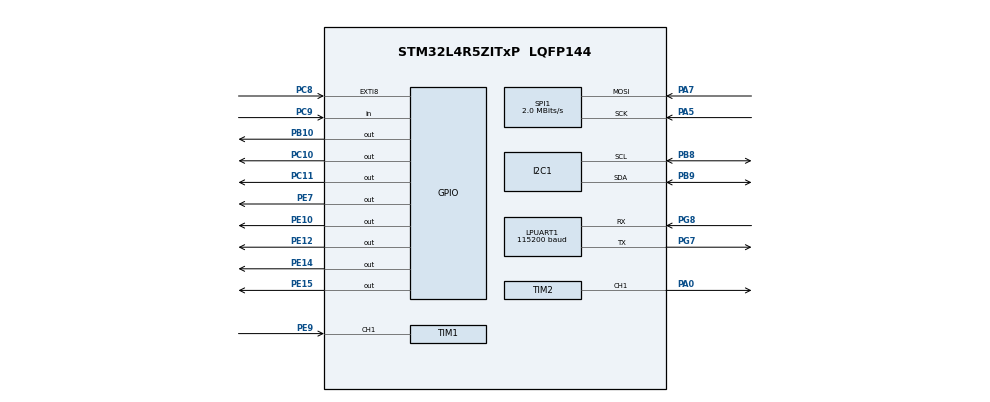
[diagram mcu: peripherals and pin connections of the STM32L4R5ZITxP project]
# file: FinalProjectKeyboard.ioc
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I2C1.Timing=0x00100D14
LPUART1.BaudRate=115200
LPUART1.WordLength=UART_WORDLENGTH_8B
Mcu.Family=STM32L4
Mcu.Name=STM32L4R5ZITxP
Mcu.Package=LQFP144
NVIC.EXTI9_5_IRQn=true\:0\:0\:false\:false\:true\:true\:true\:true
NVIC.PriorityGroup=NVIC_PRIORITYGROUP_4
PA0.Signal=S_TIM2_CH1
PA1.Signal=ADCx_IN6
PA10.Signal=USB_OTG_FS_ID
PA13\ (JTMS/SWDIO).Signal=SYS_JTMS-SWDIO
PA14\ (JTCK/SWCLK).Signal=SYS_JTCK-SWCLK
PA3.Signal=ADCx_IN8
PA4.Signal=SPI1_NSS
PA5.Mode=RX_Only_Simplex_Unidirect_Slave
PA5.Signal=SPI1_SCK
PA6.Signal=SPI1_MISO
PA7.Mode=RX_Only_Simplex_Unidirect_Slave
PA7.Signal=SPI1_MOSI
PA8.Signal=USB_OTG_FS_SOF
PA9.Signal=USB_OTG_FS_VBUS
PB0.Signal=S_TIM3_CH3
PB1.Signal=ADCx_IN16
PB10.Signal=GPIO_Output
PB12.Signal=SAI2_FS_A
PB13.Signal=SAI2_SCK_A
PB14.Signal=S_TIM15_CH1
PB15.Signal=SAI2_SD_A
PB2.Signal=COMP1_INP
PB3\ (JTDO/TRACESWO).Signal=SPI3_SCK
PB4\ (NJTRST).Signal=SPI3_MISO
PB5.Signal=SPI3_MOSI
PB6.Signal=COMP2_INP
PB8.Mode=I2C
PB8.Signal=I2C1_SCL
PB9.Mode=I2C
PB9.Signal=I2C1_SDA
PC0.Signal=ADCx_IN1
PC1.Signal=ADCx_IN2
PC10.Signal=GPIO_Output
PC11.Signal=GPIO_Output
PC12.Signal=SDMMC1_CK
PC13.Signal=SYS_WKUP2
PC14-OSC32_IN\ (PC14).Signal=RCC_OSC32_IN
PC15-OSC32_OUT\ (PC15).Signal=RCC_OSC32_OUT
PC2.Signal=ADCx_IN3
PC3.Signal=ADCx_IN4
PC4.Signal=ADCx_IN13
PC5.Signal=ADCx_IN14
PC6.Signal=SAI2_MCLK_A
PC7.Signal=S_TIM3_CH2
PC8.GPIO_ModeDefaultEXTI=GPIO_MODE_IT_FALLING
PC8.Signal=GPXTI8
PC9.Signal=GPIO_Input
PD0.Signal=CAN1_RX
PD14.Signal=S_TIM4_CH3
PD15.Signal=S_TIM4_CH4
PD2.Signal=SDMMC1_CMD
PD3.Signal=USART2_CTS
PD4.Signal=USART2_RTS
PD5.Signal=USART2_TX
PD6.Signal=USART2_RX
PD8.Signal=USART3_TX
PD9.Signal=USART3_RX
PE0.Signal=S_TIM4_ETR
PE10.Signal=GPIO_Output
PE11.Signal=S_TIM1_CH2
PE12.Signal=GPIO_Output
PE13.Signal=S_TIM1_CH3
PE14.Signal=GPIO_Output
PE15.Signal=GPIO_Output
PE2.Signal=SAI1_MCLK_A
PE3.Signal=SAI1_SD_B
PE7.Signal=GPIO_Output
PE8.Signal=TIM1_CH1N
PE9.Signal=S_TIM1_CH1
PF0.Signal=I2C2_SDA
PF1.Signal=I2C2_SCL
PF2.Signal=I2C2_SMBA
PF7.Signal=SAI1_MCLK_B
PG7.Mode=Asynchronous
PG7.Signal=LPUART1_TX
PG8.Mode=Asynchronous
PG8.Signal=LPUART1_RX
PH0-OSC_IN\ (PH0).Signal=RCC_OSC_IN
PH1-OSC_OUT\ (PH1).Signal=RCC_OSC_OUT
ProjectManager.HeapSize=0x200
ProjectManager.StackSize=0x400
ProjectManager.TargetToolchain=STM32CubeIDE
RCC.HSE_VALUE=8000000
RCC.HSI48_VALUE=48000000
RCC.HSI_VALUE=16000000
RCC.LSE_VALUE=32768
RCC.MSI_VALUE=4000000
RCC.VCOOutputFreq_Value=32000000
SH.ADCx_IN1.0=ADC1_IN1
SH.ADCx_IN13.0=ADC1_IN13
SH.ADCx_IN14.0=ADC1_IN14
SH.ADCx_IN16.0=ADC1_IN16
SH.ADCx_IN2.0=ADC1_IN2
SH.ADCx_IN3.0=ADC1_IN3
SH.ADCx_IN4.0=ADC1_IN4
SH.ADCx_IN6.0=ADC1_IN6
SH.ADCx_IN8.0=ADC1_IN8
SH.S_TIM15_CH1.0=TIM15_CH1
SH.S_TIM1_CH1.0=TIM1_CH1,Input_Capture1_from_TI1
SH.S_TIM1_CH2.0=TIM1_CH2
SH.S_TIM1_CH3.0=TIM1_CH3
SH.S_TIM2_CH1.0=TIM2_CH1,PWM Generation1 CH1
SH.S_TIM3_CH2.0=TIM3_CH2
SH.S_TIM3_CH3.0=TIM3_CH3
SH.S_TIM4_CH3.0=TIM4_CH3
SH.S_TIM4_CH4.0=TIM4_CH4
SH.S_TIM4_ETR.0=TIM4_ETR
SPI1.CLKPolarity=SPI_POLARITY_HIGH
SPI1.CalculateBaudRate=2.0 MBits/s
SPI1.DataSize=SPI_DATASIZE_8BIT
SPI1.Direction=SPI_DIRECTION_2LINES_RXONLY
SPI1.FirstBit=SPI_FIRSTBIT_LSB
SPI1.Mode=SPI_MODE_SLAVE
SPI1.VirtualType=VM_SLAVE
TIM1.Channel-Input_Capture1_from_TI1=TIM_CHANNEL_1
TIM1.Prescaler=39999
TIM2.Channel-PWM\ Generation1\ CH1=TIM_CHANNEL_1
TIM2.OCMode_PWM-PWM\ Generation1\ CH1=TIM_OCMODE_PWM1
TIM2.Period=49
TIM2.Prescaler=99
TIM2.Pulse-PWM\ Generation1\ CH1=25
VP_TIM1_VS_ClockSourceINT.Mode=Internal
VP_TIM2_VS_ClockSourceINT.Mode=Internal
board=NUCLEO-L4R5ZI-P

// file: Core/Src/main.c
/* USER CODE BEGIN Header */
/**
  ******************************************************************************
  * @file           : main.c
  * @brief          : Main program body
  ******************************************************************************
  * @attention
  *
  * Copyright (c) 2024 STMicroelectronics.
  * All rights reserved.
  *
  * This software is licensed under terms that can be found in the LICENSE file
  * in the root directory of this software component.
  * If no LICENSE file comes with this software, it is provided AS-IS.
  *
  ******************************************************************************
  */
/* USER CODE END Header */
#include "main.h"

/* USER CODE BEGIN Includes */
#include "stdio.h"
#include "stdlib.h"
#include "../../ECUAL/I2C_LCD/I2C_LCD.h"
/* USER CODE END Includes */

/* USER CODE BEGIN PD */
#define MyI2C_LCD I2C_LCD_1

/* USER CODE END PD */

I2C_HandleTypeDef hi2c1;

UART_HandleTypeDef hlpuart1;

SPI_HandleTypeDef hspi1;

TIM_HandleTypeDef htim1;
TIM_HandleTypeDef htim2;

void SystemClock_Config(void);
static void MX_GPIO_Init(void);
static void MX_LPUART1_UART_Init(void);
static void MX_SPI1_Init(void);
static void MX_TIM1_Init(void);
static void MX_I2C1_Init(void);
static void MX_TIM2_Init(void);

/* USER CODE BEGIN 0 */

char scan_code_to_char(uint8_t scan_code) {
    switch (scan_code) {
        case 0x1C: return 'a';
        case 0x32: return 'b';
        case 0x21: return 'c';
        case 0x23: return 'd';
        case 0x24: return 'e';
        case 0x2B: return 'f';
        case 0x34: return 'g';
        case 0x33: return 'h';
        case 0x43: return 'i';
        case 0x3B: return 'j';
        case 0x42: return 'k';
        case 0x4B: return 'l';
        case 0x3A: return 'm';
        case 0x31: return 'n';
        case 0x44: return 'o';
        case 0x4D: return 'p';
        case 0x15: return 'q';
        case 0x2D: return 'r';
        case 0x1B: return 's';
        case 0x2C: return 't';
        case 0x3C: return 'u';
        case 0x2A: return 'v';
        case 0x1D: return 'w';
        case 0x22: return 'x';
        case 0x35: return 'y';
        case 0x1A: return 'z';
        case 0x29: return ' ';
        default: return '?';  // Unknown or unmapped scan code
    }
}

enum State {
	Start,
	Receive,
	Parity,
	Stop
};

static int data = 0;
static int bits_received = 0;
static enum State curr_state = Start;
char currentWords[256];
int currentPosition = 0;
int ignore = 0;
int finished = 0;
//char prompt[1024] = "the quick brown fox jumps over the lazy dog while swift birds flap above the green fields enjoying the breezes while sun sets and moon rises bring peaceful nights with starry skies and calm oceans reflecting light of the day as gentle winds whistle past trees growing strong against time";
//char prompt[1024] = "a a a a a a a a a a a a a a a a a a a a a a";
char prompt[1024] = "apple banana cherry dates melon grape honeydew kiwi lemon mango nectarine orange papaya lime raspberry blueberry tangerine pear avocado watermelon strawberry yuzu peach apricot zucchini tomato";
//char prompt[1024] = "the quick brown fox jumps over the lazy dog";
int currentPromptLetter = 0;
int numWordsTyped = 0;
int currentWPM = 0;
int updateWPM = 0;
int playNoise = 0;
int reset = 0;
char curr;
int bestScores[3] = {0,0,0};

extern void HAL_GPIO_EXTI_Callback(uint16_t pin){
	HAL_GPIO_WritePin(GPIOC, GPIO_PIN_10, 0);
	int bit = HAL_GPIO_ReadPin(GPIOC, GPIO_PIN_9);

	if(currentPromptLetter == 0){
		TIM1->CNT = 0;
	}

	if (curr_state == Start) {
		curr_state = Receive;
	}

	else if (curr_state == Receive) {
		data |= (bit << bits_received++);

		if (bits_received >= 8) {
			curr = scan_code_to_char(data);
			if(data == 0xF0){ //if a key is released
				ignore = 1; //we want to ignore the next data byte sent
			}
			else if(curr != '?'){ //alphabetical character pressed
				if(!ignore){
					//code for displaying to terminal on return
					currentWords[currentPosition] = curr;
					currentPosition++;

					//code for sending correct letter signal to FPGA
					if(curr == prompt[currentPromptLetter]){
						//write pin high
						HAL_GPIO_WritePin(GPIOC, GPIO_PIN_10, 1);
						currentPromptLetter++;

						//play noise
						playNoise = 1;
						if(curr == ' '){
							numWordsTyped++;
							updateWPM = 1;
						}
						if(prompt[currentPromptLetter] == '\0'){
							//end condition
							finished = 1;
						}
					}
				}
				else {
					ignore = 0;
				}
			}
			else if(data == 0x5A){ //return key pressed
				if(!ignore){
					currentPromptLetter = 0;
					numWordsTyped = 0;
					reset = 1;
				}
				else {
					ignore = 0;
				}
			}
			curr_state = Parity;
		}
	}

	else if (curr_state == Parity) {
		curr_state = Stop;
	}

	else if (curr_state == Stop) {
		data = 0;
		bits_received = 0;
		curr_state = Start;

		if(finished){

		//	printf("You finished!! WPM:%d\n\r", currentWPM);

			currentPromptLetter = 0;

		}
	}

	//HAL_GPIO_WritePin(GPIOC, GPIO_PIN_10, bit);
}

void playChime(void) {
	uint16_t melody[] = {
	        40,  // High note
	        60,  // Medium note
	        80,  // Low note
	        60,  // Medium note
	        40,  // High note
	        40,  // High note (repeat)
	        60,  // Medium note
	        40,  // High note
	        80,  // Low note
	        60,  // Medium note
	        40,  // High note
	    };
	    int melodyLength = sizeof(melody) / sizeof(melody[0]);
	    for (int i = 0; i < melodyLength; i++) {
	        TIM2->PSC = melody[i];
	        HAL_TIM_PWM_Start(&htim2, TIM_CHANNEL_1);
	        HAL_Delay(100);
	        HAL_TIM_PWM_Stop(&htim2, TIM_CHANNEL_1);
	        HAL_Delay(50);
}
}

void print_leaderboard() {
	I2C_LCD_Clear(MyI2C_LCD);
	I2C_LCD_SetCursor(MyI2C_LCD, 0, 0);
	I2C_LCD_WriteString(MyI2C_LCD, "Leaderboard:");
	char num[3];

	I2C_LCD_SetCursor(MyI2C_LCD, 0, 1);
	I2C_LCD_WriteString(MyI2C_LCD, "1:     WPM");
	I2C_LCD_SetCursor(MyI2C_LCD, 3, 1);
	I2C_LCD_WriteString(MyI2C_LCD, itoa(bestScores[0], num, 10));

	I2C_LCD_SetCursor(MyI2C_LCD, 0, 2);
	I2C_LCD_WriteString(MyI2C_LCD, "2:     WPM");
	I2C_LCD_SetCursor(MyI2C_LCD, 3, 2);
	I2C_LCD_WriteString(MyI2C_LCD, itoa(bestScores[1], num, 10));

	I2C_LCD_SetCursor(MyI2C_LCD, 0, 3);
	I2C_LCD_WriteString(MyI2C_LCD, "3:     WPM");
	I2C_LCD_SetCursor(MyI2C_LCD, 3, 3);
	I2C_LCD_WriteString(MyI2C_LCD, itoa(bestScores[2], num, 10));
	playChime();
}

void lightLEDs(int WPM) {
	if (WPM >= 100) {
		HAL_GPIO_WritePin(GPIOE, GPIO_PIN_7, 1);
		HAL_GPIO_WritePin(GPIOE, GPIO_PIN_10, 1);
		HAL_GPIO_WritePin(GPIOE, GPIO_PIN_12, 1);
		HAL_GPIO_WritePin(GPIOE, GPIO_PIN_14, 1);
		HAL_GPIO_WritePin(GPIOE, GPIO_PIN_15, 1);
		HAL_GPIO_WritePin(GPIOB, GPIO_PIN_10, 1);
	}
	else if (WPM >= 85) {
		HAL_GPIO_WritePin(GPIOE, GPIO_PIN_7, 1);
		HAL_GPIO_WritePin(GPIOE, GPIO_PIN_10, 1);
		HAL_GPIO_WritePin(GPIOE, GPIO_PIN_12, 1);
		HAL_GPIO_WritePin(GPIOE, GPIO_PIN_14, 1);
		HAL_GPIO_WritePin(GPIOE, GPIO_PIN_15, 1);
		HAL_GPIO_WritePin(GPIOB, GPIO_PIN_10, 0);
	}
	else if (WPM >= 70) {
		HAL_GPIO_WritePin(GPIOE, GPIO_PIN_7, 1);
		HAL_GPIO_WritePin(GPIOE, GPIO_PIN_10, 1);
		HAL_GPIO_WritePin(GPIOE, GPIO_PIN_12, 1);
		HAL_GPIO_WritePin(GPIOE, GPIO_PIN_14, 1);
		HAL_GPIO_WritePin(GPIOE, GPIO_PIN_15, 0);
		HAL_GPIO_WritePin(GPIOB, GPIO_PIN_10, 0);
	}
	else if (WPM >= 55) {
		HAL_GPIO_WritePin(GPIOE, GPIO_PIN_7, 1);
		HAL_GPIO_WritePin(GPIOE, GPIO_PIN_10, 1);
		HAL_GPIO_WritePin(GPIOE, GPIO_PIN_12, 1);
		HAL_GPIO_WritePin(GPIOE, GPIO_PIN_14, 0);
		HAL_GPIO_WritePin(GPIOE, GPIO_PIN_15, 0);
		HAL_GPIO_WritePin(GPIOB, GPIO_PIN_10, 0);
	}
	else if (WPM >= 40) {
		HAL_GPIO_WritePin(GPIOE, GPIO_PIN_7, 1);
		HAL_GPIO_WritePin(GPIOE, GPIO_PIN_10, 1);
		HAL_GPIO_WritePin(GPIOE, GPIO_PIN_12, 0);
		HAL_GPIO_WritePin(GPIOE, GPIO_PIN_14, 0);
		HAL_GPIO_WritePin(GPIOE, GPIO_PIN_15, 0);
		HAL_GPIO_WritePin(GPIOB, GPIO_PIN_10, 0);
	}
	else if (WPM >= 25) {
		// write 5 0, 1 1
		HAL_GPIO_WritePin(GPIOE, GPIO_PIN_7, 1);
		HAL_GPIO_WritePin(GPIOE, GPIO_PIN_10, 0);
		HAL_GPIO_WritePin(GPIOE, GPIO_PIN_12, 0);
		HAL_GPIO_WritePin(GPIOE, GPIO_PIN_14, 0);
		HAL_GPIO_WritePin(GPIOE, GPIO_PIN_15, 0);
		HAL_GPIO_WritePin(GPIOB, GPIO_PIN_10, 0);
	}
	else {
		HAL_GPIO_WritePin(GPIOE, GPIO_PIN_7, 0);
		HAL_GPIO_WritePin(GPIOE, GPIO_PIN_10, 0);
		HAL_GPIO_WritePin(GPIOE, GPIO_PIN_12, 0);
		HAL_GPIO_WritePin(GPIOE, GPIO_PIN_14, 0);
		HAL_GPIO_WritePin(GPIOE, GPIO_PIN_15, 0);
		HAL_GPIO_WritePin(GPIOB, GPIO_PIN_10, 0);
		// write 6 0
	}
}

/* USER CODE END 0 */

int main(void)
{

  /* MCU Configuration--------------------------------------------------------*/

  /* Reset of all peripherals, Initializes the Flash interface and the Systick. */
  HAL_Init();

  /* Configure the system clock */
  SystemClock_Config();

  /* Initialize all configured peripherals */
  MX_GPIO_Init();
  MX_LPUART1_UART_Init();
  MX_SPI1_Init();
  MX_TIM1_Init();
  MX_I2C1_Init();
  MX_TIM2_Init();
  /* USER CODE BEGIN 2 */
  //initialize timer
  HAL_TIM_IC_Start_IT(&htim1, TIM_CHANNEL_1);
  //LCD TEST
  I2C_LCD_Init(MyI2C_LCD);
  /* USER CODE END 2 */

  /* Infinite loop */
  /* USER CODE BEGIN WHILE */
  int count = 0;
  reset = 1;

	//HAL_GPIO_WritePin(GPIOB, GPIO_PIN_10, 1); //test led

  while (1)
  {

	  if(reset){
		  HAL_GPIO_WritePin(GPIOC, GPIO_PIN_11, 1);

		  HAL_GPIO_WritePin(GPIOC, GPIO_PIN_11, 0);
		  print_leaderboard();
		  reset = 0;
	  }

	  if (updateWPM) {
		//HAL_TIM_PWM_Start(&htim2, TIM_CHANNEL_1);
		currentWPM = (numWordsTyped * 100 * 60) / (TIM1->CNT);
		I2C_LCD_Clear(MyI2C_LCD);
		I2C_LCD_SetCursor(MyI2C_LCD, 0, 0);
		char num[3];
		I2C_LCD_WriteString(MyI2C_LCD, "WPM:");
		I2C_LCD_SetCursor(MyI2C_LCD, 5, 0);
		I2C_LCD_WriteString(MyI2C_LCD, itoa(currentWPM, num, 10));
		updateWPM = 0;
		lightLEDs(currentWPM);
		//HAL_TIM_PWM_Stop(&htim2, TIM_CHANNEL_1);
	}

	  if(playNoise){
		  HAL_TIM_PWM_Start(&htim2, TIM_CHANNEL_1);
		  if (count++ > 1000) {
			  HAL_TIM_PWM_Stop(&htim2, TIM_CHANNEL_1);
			  playNoise = 0;
			  count = 0;
		  }
	  }

	  if(finished){
		  numWordsTyped++;
		  currentWPM = (numWordsTyped * 100 * 60) / (TIM1->CNT);
		  numWordsTyped = 0;
		  char num[3];
		  int WPMcopy = currentWPM;
		  I2C_LCD_SetCursor(MyI2C_LCD, 0, 0);
		  I2C_LCD_WriteString(MyI2C_LCD, "You finished :)");
		  I2C_LCD_SetCursor(MyI2C_LCD, 0, 1);
		  I2C_LCD_WriteString(MyI2C_LCD, "Final WPM:");
		  I2C_LCD_SetCursor(MyI2C_LCD, 11, 1);
		  I2C_LCD_WriteString(MyI2C_LCD, itoa(WPMcopy, num, 10));
		  finished = 0;

		  //update leaderboard
		  if (WPMcopy >= bestScores[0]) {
			  bestScores[2] = bestScores[1];
			  bestScores[1] = bestScores[0];
			  bestScores[0] = WPMcopy;
		  }
		  else if (WPMcopy >= bestScores[1]) {
			  bestScores[2] = bestScores[1];
			  bestScores[1] = WPMcopy;
		  }
		  else if (WPMcopy >= bestScores[2]){
			  bestScores[2] = WPMcopy;
		  }

		  print_leaderboard();
		  TIM2->PSC = 99;
	  }
    /* USER CODE END WHILE */

  }
}

void SystemClock_Config(void)
{
  RCC_OscInitTypeDef RCC_OscInitStruct = {0};
  RCC_ClkInitTypeDef RCC_ClkInitStruct = {0};

  /** Configure the main internal regulator output voltage
  */
  if (HAL_PWREx_ControlVoltageScaling(PWR_REGULATOR_VOLTAGE_SCALE1) != HAL_OK)
  {
    Error_Handler();
  }

  /** Initializes the RCC Oscillators according to the specified parameters
  * in the RCC_OscInitTypeDef structure.
  */
  RCC_OscInitStruct.OscillatorType = RCC_OSCILLATORTYPE_MSI;
  RCC_OscInitStruct.MSIState = RCC_MSI_ON;
  RCC_OscInitStruct.MSICalibrationValue = 0;
  RCC_OscInitStruct.MSIClockRange = RCC_MSIRANGE_6;
  RCC_OscInitStruct.PLL.PLLState = RCC_PLL_NONE;
  if (HAL_RCC_OscConfig(&RCC_OscInitStruct) != HAL_OK)
  {
    Error_Handler();
  }

  /** Initializes the CPU, AHB and APB buses clocks
  */
  RCC_ClkInitStruct.ClockType = RCC_CLOCKTYPE_HCLK|RCC_CLOCKTYPE_SYSCLK
                              |RCC_CLOCKTYPE_PCLK1|RCC_CLOCKTYPE_PCLK2;
  RCC_ClkInitStruct.SYSCLKSource = RCC_SYSCLKSOURCE_MSI;
  RCC_ClkInitStruct.AHBCLKDivider = RCC_SYSCLK_DIV1;
  RCC_ClkInitStruct.APB1CLKDivider = RCC_HCLK_DIV1;
  RCC_ClkInitStruct.APB2CLKDivider = RCC_HCLK_DIV1;

  if (HAL_RCC_ClockConfig(&RCC_ClkInitStruct, FLASH_LATENCY_0) != HAL_OK)
  {
    Error_Handler();
  }
}

static void MX_I2C1_Init(void)
{

  hi2c1.Instance = I2C1;
  hi2c1.Init.Timing = 0x00100D14;
  hi2c1.Init.OwnAddress1 = 0;
  hi2c1.Init.AddressingMode = I2C_ADDRESSINGMODE_7BIT;
  hi2c1.Init.DualAddressMode = I2C_DUALADDRESS_DISABLE;
  hi2c1.Init.OwnAddress2 = 0;
  hi2c1.Init.OwnAddress2Masks = I2C_OA2_NOMASK;
  hi2c1.Init.GeneralCallMode = I2C_GENERALCALL_DISABLE;
  hi2c1.Init.NoStretchMode = I2C_NOSTRETCH_DISABLE;
  if (HAL_I2C_Init(&hi2c1) != HAL_OK)
  {
    Error_Handler();
  }

  /** Configure Analogue filter
  */
  if (HAL_I2CEx_ConfigAnalogFilter(&hi2c1, I2C_ANALOGFILTER_ENABLE) != HAL_OK)
  {
    Error_Handler();
  }

  /** Configure Digital filter
  */
  if (HAL_I2CEx_ConfigDigitalFilter(&hi2c1, 0) != HAL_OK)
  {
    Error_Handler();
  }

}

static void MX_LPUART1_UART_Init(void)
{

  hlpuart1.Instance = LPUART1;
  hlpuart1.Init.BaudRate = 115200;
  hlpuart1.Init.WordLength = UART_WORDLENGTH_8B;
  hlpuart1.Init.StopBits = UART_STOPBITS_1;
  hlpuart1.Init.Parity = UART_PARITY_NONE;
  hlpuart1.Init.Mode = UART_MODE_TX_RX;
  hlpuart1.Init.HwFlowCtl = UART_HWCONTROL_NONE;
  hlpuart1.Init.OneBitSampling = UART_ONE_BIT_SAMPLE_DISABLE;
  hlpuart1.Init.ClockPrescaler = UART_PRESCALER_DIV1;
  hlpuart1.AdvancedInit.AdvFeatureInit = UART_ADVFEATURE_NO_INIT;
  hlpuart1.FifoMode = UART_FIFOMODE_DISABLE;
  if (HAL_UART_Init(&hlpuart1) != HAL_OK)
  {
    Error_Handler();
  }
  if (HAL_UARTEx_SetTxFifoThreshold(&hlpuart1, UART_TXFIFO_THRESHOLD_1_8) != HAL_OK)
  {
    Error_Handler();
  }
  if (HAL_UARTEx_SetRxFifoThreshold(&hlpuart1, UART_RXFIFO_THRESHOLD_1_8) != HAL_OK)
  {
    Error_Handler();
  }
  if (HAL_UARTEx_DisableFifoMode(&hlpuart1) != HAL_OK)
  {
    Error_Handler();
  }

}

static void MX_SPI1_Init(void)
{

  /* SPI1 parameter configuration*/
  hspi1.Instance = SPI1;
  hspi1.Init.Mode = SPI_MODE_SLAVE;
  hspi1.Init.Direction = SPI_DIRECTION_2LINES_RXONLY;
  hspi1.Init.DataSize = SPI_DATASIZE_8BIT;
  hspi1.Init.CLKPolarity = SPI_POLARITY_HIGH;
  hspi1.Init.CLKPhase = SPI_PHASE_1EDGE;
  hspi1.Init.NSS = SPI_NSS_SOFT;
  hspi1.Init.FirstBit = SPI_FIRSTBIT_LSB;
  hspi1.Init.TIMode = SPI_TIMODE_DISABLE;
  hspi1.Init.CRCCalculation = SPI_CRCCALCULATION_DISABLE;
  hspi1.Init.CRCPolynomial = 7;
  hspi1.Init.CRCLength = SPI_CRC_LENGTH_DATASIZE;
  hspi1.Init.NSSPMode = SPI_NSS_PULSE_DISABLE;
  if (HAL_SPI_Init(&hspi1) != HAL_OK)
  {
    Error_Handler();
  }

}

static void MX_TIM1_Init(void)
{

  TIM_ClockConfigTypeDef sClockSourceConfig = {0};
  TIM_MasterConfigTypeDef sMasterConfig = {0};
  TIM_IC_InitTypeDef sConfigIC = {0};

  htim1.Instance = TIM1;
  htim1.Init.Prescaler = 39999;
  htim1.Init.CounterMode = TIM_COUNTERMODE_UP;
  htim1.Init.Period = 65535;
  htim1.Init.ClockDivision = TIM_CLOCKDIVISION_DIV1;
  htim1.Init.RepetitionCounter = 0;
  htim1.Init.AutoReloadPreload = TIM_AUTORELOAD_PRELOAD_DISABLE;
  if (HAL_TIM_Base_Init(&htim1) != HAL_OK)
  {
    Error_Handler();
  }
  sClockSourceConfig.ClockSource = TIM_CLOCKSOURCE_INTERNAL;
  if (HAL_TIM_ConfigClockSource(&htim1, &sClockSourceConfig) != HAL_OK)
  {
    Error_Handler();
  }
  if (HAL_TIM_IC_Init(&htim1) != HAL_OK)
  {
    Error_Handler();
  }
  sMasterConfig.MasterOutputTrigger = TIM_TRGO_RESET;
  sMasterConfig.MasterOutputTrigger2 = TIM_TRGO2_RESET;
  sMasterConfig.MasterSlaveMode = TIM_MASTERSLAVEMODE_DISABLE;
  if (HAL_TIMEx_MasterConfigSynchronization(&htim1, &sMasterConfig) != HAL_OK)
  {
    Error_Handler();
  }
  sConfigIC.ICPolarity = TIM_INPUTCHANNELPOLARITY_RISING;
  sConfigIC.ICSelection = TIM_ICSELECTION_DIRECTTI;
  sConfigIC.ICPrescaler = TIM_ICPSC_DIV1;
  sConfigIC.ICFilter = 0;
  if (HAL_TIM_IC_ConfigChannel(&htim1, &sConfigIC, TIM_CHANNEL_1) != HAL_OK)
  {
    Error_Handler();
  }

}

static void MX_TIM2_Init(void)
{

  TIM_ClockConfigTypeDef sClockSourceConfig = {0};
  TIM_MasterConfigTypeDef sMasterConfig = {0};
  TIM_OC_InitTypeDef sConfigOC = {0};

  htim2.Instance = TIM2;
  htim2.Init.Prescaler = 99;
  htim2.Init.CounterMode = TIM_COUNTERMODE_UP;
  htim2.Init.Period = 49;
  htim2.Init.ClockDivision = TIM_CLOCKDIVISION_DIV1;
  htim2.Init.AutoReloadPreload = TIM_AUTORELOAD_PRELOAD_DISABLE;
  if (HAL_TIM_Base_Init(&htim2) != HAL_OK)
  {
    Error_Handler();
  }
  sClockSourceConfig.ClockSource = TIM_CLOCKSOURCE_INTERNAL;
  if (HAL_TIM_ConfigClockSource(&htim2, &sClockSourceConfig) != HAL_OK)
  {
    Error_Handler();
  }
  if (HAL_TIM_PWM_Init(&htim2) != HAL_OK)
  {
    Error_Handler();
  }
  sMasterConfig.MasterOutputTrigger = TIM_TRGO_RESET;
  sMasterConfig.MasterSlaveMode = TIM_MASTERSLAVEMODE_DISABLE;
  if (HAL_TIMEx_MasterConfigSynchronization(&htim2, &sMasterConfig) != HAL_OK)
  {
    Error_Handler();
  }
  sConfigOC.OCMode = TIM_OCMODE_PWM1;
  sConfigOC.Pulse = 25;
  sConfigOC.OCPolarity = TIM_OCPOLARITY_HIGH;
  sConfigOC.OCFastMode = TIM_OCFAST_DISABLE;
  if (HAL_TIM_PWM_ConfigChannel(&htim2, &sConfigOC, TIM_CHANNEL_1) != HAL_OK)
  {
    Error_Handler();
  }
  HAL_TIM_MspPostInit(&htim2);

}

static void MX_GPIO_Init(void)
{
  GPIO_InitTypeDef GPIO_InitStruct = {0};

  /* GPIO Ports Clock Enable */
  __HAL_RCC_GPIOE_CLK_ENABLE();
  __HAL_RCC_GPIOC_CLK_ENABLE();
  __HAL_RCC_GPIOF_CLK_ENABLE();
  __HAL_RCC_GPIOH_CLK_ENABLE();
  __HAL_RCC_GPIOA_CLK_ENABLE();
  __HAL_RCC_GPIOB_CLK_ENABLE();
  __HAL_RCC_GPIOD_CLK_ENABLE();
  __HAL_RCC_GPIOG_CLK_ENABLE();
  HAL_PWREx_EnableVddIO2();

  /*Configure GPIO pin Output Level */
  HAL_GPIO_WritePin(GPIOE, GPIO_PIN_7|GPIO_PIN_10|GPIO_PIN_12|GPIO_PIN_14
                          |GPIO_PIN_15, GPIO_PIN_RESET);

  /*Configure GPIO pin Output Level */
  HAL_GPIO_WritePin(GPIOB, GPIO_PIN_10, GPIO_PIN_RESET);

  /*Configure GPIO pin Output Level */
  HAL_GPIO_WritePin(GPIOC, GPIO_PIN_10|GPIO_PIN_11, GPIO_PIN_RESET);

  /*Configure GPIO pins : PE2 PE3 */
  GPIO_InitStruct.Pin = GPIO_PIN_2|GPIO_PIN_3;
  GPIO_InitStruct.Mode = GPIO_MODE_AF_PP;
  GPIO_InitStruct.Pull = GPIO_NOPULL;
  GPIO_InitStruct.Speed = GPIO_SPEED_FREQ_LOW;
  GPIO_InitStruct.Alternate = GPIO_AF13_SAI1;
  HAL_GPIO_Init(GPIOE, &GPIO_InitStruct);

  /*Configure GPIO pins : PF0 PF1 PF2 */
  GPIO_InitStruct.Pin = GPIO_PIN_0|GPIO_PIN_1|GPIO_PIN_2;
  GPIO_InitStruct.Mode = GPIO_MODE_AF_OD;
  GPIO_InitStruct.Pull = GPIO_NOPULL;
  GPIO_InitStruct.Speed = GPIO_SPEED_FREQ_VERY_HIGH;
  GPIO_InitStruct.Alternate = GPIO_AF4_I2C2;
  HAL_GPIO_Init(GPIOF, &GPIO_InitStruct);

  /*Configure GPIO pin : PF7 */
  GPIO_InitStruct.Pin = GPIO_PIN_7;
  GPIO_InitStruct.Mode = GPIO_MODE_AF_PP;
  GPIO_InitStruct.Pull = GPIO_NOPULL;
  GPIO_InitStruct.Speed = GPIO_SPEED_FREQ_LOW;
  GPIO_InitStruct.Alternate = GPIO_AF13_SAI1;
  HAL_GPIO_Init(GPIOF, &GPIO_InitStruct);

  /*Configure GPIO pins : PC0 PC1 PC2 PC3
                           PC4 PC5 */
  GPIO_InitStruct.Pin = GPIO_PIN_0|GPIO_PIN_1|GPIO_PIN_2|GPIO_PIN_3
                          |GPIO_PIN_4|GPIO_PIN_5;
  GPIO_InitStruct.Mode = GPIO_MODE_ANALOG_ADC_CONTROL;
  GPIO_InitStruct.Pull = GPIO_NOPULL;
  HAL_GPIO_Init(GPIOC, &GPIO_InitStruct);

  /*Configure GPIO pins : PA1 PA3 */
  GPIO_InitStruct.Pin = GPIO_PIN_1|GPIO_PIN_3;
  GPIO_InitStruct.Mode = GPIO_MODE_ANALOG_ADC_CONTROL;
  GPIO_InitStruct.Pull = GPIO_NOPULL;
  HAL_GPIO_Init(GPIOA, &GPIO_InitStruct);

  /*Configure GPIO pin : PB0 */
  GPIO_InitStruct.Pin = GPIO_PIN_0;
  GPIO_InitStruct.Mode = GPIO_MODE_AF_PP;
  GPIO_InitStruct.Pull = GPIO_NOPULL;
  GPIO_InitStruct.Speed = GPIO_SPEED_FREQ_LOW;
  GPIO_InitStruct.Alternate = GPIO_AF2_TIM3;
  HAL_GPIO_Init(GPIOB, &GPIO_InitStruct);

  /*Configure GPIO pin : PB1 */
  GPIO_InitStruct.Pin = GPIO_PIN_1;
  GPIO_InitStruct.Mode = GPIO_MODE_ANALOG_ADC_CONTROL;
  GPIO_InitStruct.Pull = GPIO_NOPULL;
  HAL_GPIO_Init(GPIOB, &GPIO_InitStruct);

  /*Configure GPIO pins : PB2 PB6 */
  GPIO_InitStruct.Pin = GPIO_PIN_2|GPIO_PIN_6;
  GPIO_InitStruct.Mode = GPIO_MODE_ANALOG;
  GPIO_InitStruct.Pull = GPIO_NOPULL;
  HAL_GPIO_Init(GPIOB, &GPIO_InitStruct);

  /*Configure GPIO pins : PE7 PE10 PE12 PE14
                           PE15 */
  GPIO_InitStruct.Pin = GPIO_PIN_7|GPIO_PIN_10|GPIO_PIN_12|GPIO_PIN_14
                          |GPIO_PIN_15;
  GPIO_InitStruct.Mode = GPIO_MODE_OUTPUT_PP;
  GPIO_InitStruct.Pull = GPIO_NOPULL;
  GPIO_InitStruct.Speed = GPIO_SPEED_FREQ_LOW;
  HAL_GPIO_Init(GPIOE, &GPIO_InitStruct);

  /*Configure GPIO pin : PB10 */
  GPIO_InitStruct.Pin = GPIO_PIN_10;
  GPIO_InitStruct.Mode = GPIO_MODE_OUTPUT_PP;
  GPIO_InitStruct.Pull = GPIO_NOPULL;
  GPIO_InitStruct.Speed = GPIO_SPEED_FREQ_LOW;
  HAL_GPIO_Init(GPIOB, &GPIO_InitStruct);

  /*Configure GPIO pins : PB12 PB13 PB15 */
  GPIO_InitStruct.Pin = GPIO_PIN_12|GPIO_PIN_13|GPIO_PIN_15;
  GPIO_InitStruct.Mode = GPIO_MODE_AF_PP;
  GPIO_InitStruct.Pull = GPIO_NOPULL;
  GPIO_InitStruct.Speed = GPIO_SPEED_FREQ_LOW;
  GPIO_InitStruct.Alternate = GPIO_AF13_SAI2;
  HAL_GPIO_Init(GPIOB, &GPIO_InitStruct);

  /*Configure GPIO pin : PB14 */
  GPIO_InitStruct.Pin = GPIO_PIN_14;
  GPIO_InitStruct.Mode = GPIO_MODE_AF_PP;
  GPIO_InitStruct.Pull = GPIO_NOPULL;
  GPIO_InitStruct.Speed = GPIO_SPEED_FREQ_LOW;
  GPIO_InitStruct.Alternate = GPIO_AF14_TIM15;
  HAL_GPIO_Init(GPIOB, &GPIO_InitStruct);

  /*Configure GPIO pins : PD8 PD9 */
  GPIO_InitStruct.Pin = GPIO_PIN_8|GPIO_PIN_9;
  GPIO_InitStruct.Mode = GPIO_MODE_AF_PP;
  GPIO_InitStruct.Pull = GPIO_NOPULL;
  GPIO_InitStruct.Speed = GPIO_SPEED_FREQ_VERY_HIGH;
  GPIO_InitStruct.Alternate = GPIO_AF7_USART3;
  HAL_GPIO_Init(GPIOD, &GPIO_InitStruct);

  /*Configure GPIO pins : PD14 PD15 */
  GPIO_InitStruct.Pin = GPIO_PIN_14|GPIO_PIN_15;
  GPIO_InitStruct.Mode = GPIO_MODE_AF_PP;
  GPIO_InitStruct.Pull = GPIO_NOPULL;
  GPIO_InitStruct.Speed = GPIO_SPEED_FREQ_LOW;
  GPIO_InitStruct.Alternate = GPIO_AF2_TIM4;
  HAL_GPIO_Init(GPIOD, &GPIO_InitStruct);

  /*Configure GPIO pin : PC6 */
  GPIO_InitStruct.Pin = GPIO_PIN_6;
  GPIO_InitStruct.Mode = GPIO_MODE_AF_PP;
  GPIO_InitStruct.Pull = GPIO_NOPULL;
  GPIO_InitStruct.Speed = GPIO_SPEED_FREQ_LOW;
  GPIO_InitStruct.Alternate = GPIO_AF13_SAI2;
  HAL_GPIO_Init(GPIOC, &GPIO_InitStruct);

  /*Configure GPIO pin : PC7 */
  GPIO_InitStruct.Pin = GPIO_PIN_7;
  GPIO_InitStruct.Mode = GPIO_MODE_AF_PP;
  GPIO_InitStruct.Pull = GPIO_NOPULL;
  GPIO_InitStruct.Speed = GPIO_SPEED_FREQ_LOW;
  GPIO_InitStruct.Alternate = GPIO_AF2_TIM3;
  HAL_GPIO_Init(GPIOC, &GPIO_InitStruct);

  /*Configure GPIO pin : PC8 */
  GPIO_InitStruct.Pin = GPIO_PIN_8;
  GPIO_InitStruct.Mode = GPIO_MODE_IT_FALLING;
  GPIO_InitStruct.Pull = GPIO_NOPULL;
  HAL_GPIO_Init(GPIOC, &GPIO_InitStruct);

  /*Configure GPIO pin : PC9 */
  GPIO_InitStruct.Pin = GPIO_PIN_9;
  GPIO_InitStruct.Mode = GPIO_MODE_INPUT;
  GPIO_InitStruct.Pull = GPIO_NOPULL;
  HAL_GPIO_Init(GPIOC, &GPIO_InitStruct);

  /*Configure GPIO pins : PA8 PA10 */
  GPIO_InitStruct.Pin = GPIO_PIN_8|GPIO_PIN_10;
  GPIO_InitStruct.Mode = GPIO_MODE_AF_PP;
  GPIO_InitStruct.Pull = GPIO_NOPULL;
  GPIO_InitStruct.Speed = GPIO_SPEED_FREQ_VERY_HIGH;
  GPIO_InitStruct.Alternate = GPIO_AF10_OTG_FS;
  HAL_GPIO_Init(GPIOA, &GPIO_InitStruct);

  /*Configure GPIO pin : PA9 */
  GPIO_InitStruct.Pin = GPIO_PIN_9;
  GPIO_InitStruct.Mode = GPIO_MODE_INPUT;
  GPIO_InitStruct.Pull = GPIO_NOPULL;
  HAL_GPIO_Init(GPIOA, &GPIO_InitStruct);

  /*Configure GPIO pins : PC10 PC11 */
  GPIO_InitStruct.Pin = GPIO_PIN_10|GPIO_PIN_11;
  GPIO_InitStruct.Mode = GPIO_MODE_OUTPUT_PP;
  GPIO_InitStruct.Pull = GPIO_NOPULL;
  GPIO_InitStruct.Speed = GPIO_SPEED_FREQ_LOW;
  HAL_GPIO_Init(GPIOC, &GPIO_InitStruct);

  /*Configure GPIO pin : PC12 */
  GPIO_InitStruct.Pin = GPIO_PIN_12;
  GPIO_InitStruct.Mode = GPIO_MODE_AF_PP;
  GPIO_InitStruct.Pull = GPIO_NOPULL;
  GPIO_InitStruct.Speed = GPIO_SPEED_FREQ_VERY_HIGH;
  GPIO_InitStruct.Alternate = GPIO_AF12_SDMMC1;
  HAL_GPIO_Init(GPIOC, &GPIO_InitStruct);

  /*Configure GPIO pin : PD0 */
  GPIO_InitStruct.Pin = GPIO_PIN_0;
  GPIO_InitStruct.Mode = GPIO_MODE_AF_PP;
  GPIO_InitStruct.Pull = GPIO_NOPULL;
  GPIO_InitStruct.Speed = GPIO_SPEED_FREQ_VERY_HIGH;
  GPIO_InitStruct.Alternate = GPIO_AF9_CAN1;
  HAL_GPIO_Init(GPIOD, &GPIO_InitStruct);

  /*Configure GPIO pin : PD2 */
  GPIO_InitStruct.Pin = GPIO_PIN_2;
  GPIO_InitStruct.Mode = GPIO_MODE_AF_PP;
  GPIO_InitStruct.Pull = GPIO_NOPULL;
  GPIO_InitStruct.Speed = GPIO_SPEED_FREQ_VERY_HIGH;
  GPIO_InitStruct.Alternate = GPIO_AF12_SDMMC1;
  HAL_GPIO_Init(GPIOD, &GPIO_InitStruct);

  /*Configure GPIO pins : PD3 PD4 PD5 PD6 */
  GPIO_InitStruct.Pin = GPIO_PIN_3|GPIO_PIN_4|GPIO_PIN_5|GPIO_PIN_6;
  GPIO_InitStruct.Mode = GPIO_MODE_AF_PP;
  GPIO_InitStruct.Pull = GPIO_NOPULL;
  GPIO_InitStruct.Speed = GPIO_SPEED_FREQ_VERY_HIGH;
  GPIO_InitStruct.Alternate = GPIO_AF7_USART2;
  HAL_GPIO_Init(GPIOD, &GPIO_InitStruct);

  /*Configure GPIO pins : PB3 PB4 PB5 */
  GPIO_InitStruct.Pin = GPIO_PIN_3|GPIO_PIN_4|GPIO_PIN_5;
  GPIO_InitStruct.Mode = GPIO_MODE_AF_PP;
  GPIO_InitStruct.Pull = GPIO_NOPULL;
  GPIO_InitStruct.Speed = GPIO_SPEED_FREQ_VERY_HIGH;
  GPIO_InitStruct.Alternate = GPIO_AF6_SPI3;
  HAL_GPIO_Init(GPIOB, &GPIO_InitStruct);

  /*Configure GPIO pin : PE0 */
  GPIO_InitStruct.Pin = GPIO_PIN_0;
  GPIO_InitStruct.Mode = GPIO_MODE_AF_PP;
  GPIO_InitStruct.Pull = GPIO_NOPULL;
  GPIO_InitStruct.Speed = GPIO_SPEED_FREQ_LOW;
  GPIO_InitStruct.Alternate = GPIO_AF2_TIM4;
  HAL_GPIO_Init(GPIOE, &GPIO_InitStruct);

  /* EXTI interrupt init*/
  HAL_NVIC_SetPriority(EXTI9_5_IRQn, 0, 0);
  HAL_NVIC_EnableIRQ(EXTI9_5_IRQn);

}

/* USER CODE BEGIN 4 */
#ifdef __GNUC__
#define PUTCHAR_PROTOTYPE int __io_putchar(int ch)
#else
	#define PUTCHAR_PROTOTYPE int fputc(int ch, FILE *f)
#endif /* __GNUC__ */
PUTCHAR_PROTOTYPE
{
	HAL_UART_Transmit(&hlpuart1, (uint8_t *)&ch, 1, 0xFFFF);
	return ch;
}
/* USER CODE END 4 */

void Error_Handler(void)
{
  __disable_irq();
  while (1)
  {
  }
}
